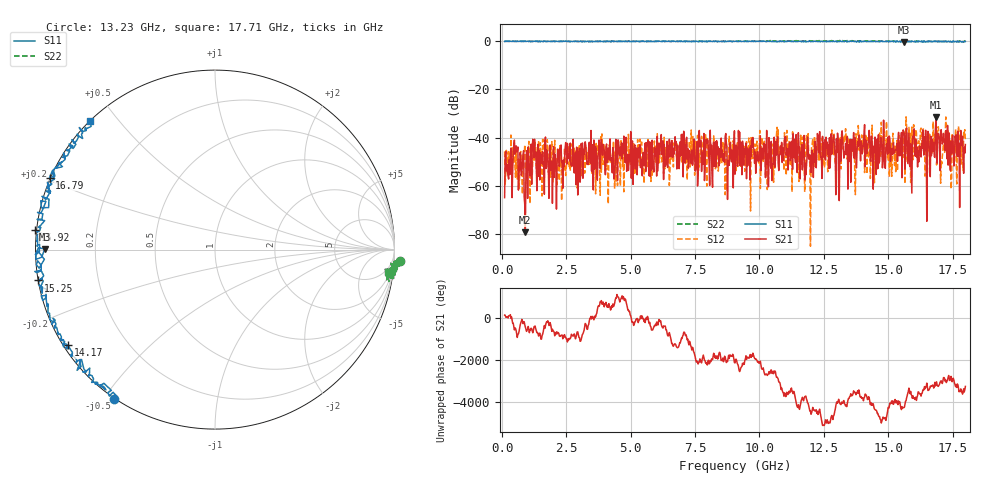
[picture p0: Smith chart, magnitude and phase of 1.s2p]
!Keysight Technologies N9917A: A.08.15
!Date: Friday, 29 September 2017 08:58:18
!Timezone: (GMT-08:00) Pacific Time (US & Canada)
!Model: N9917A
!Serial: MY53102735
!GPS Latitude:
!GPS Longitude:
!GPS TimeStamp: 0001-01-01 00:00:00Z
!GPS Seconds Since Last Read: 0
!CHECKSUM:0467438854
!Correction: S11(ON U)S21(ON U)S12(ON U)S22(ON U)
!S2P File: Measurements:S11,S21,S12,S22:
# Hz S RI R 50
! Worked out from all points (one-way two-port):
!   801 points, 100 MHz to 18 GHz, reference 50 ohm
!   highest |S21| = -31.58 dB at 16.86 GHz (marker M1); lowest = -79.3 dB at 905.5 MHz (marker M2)
!   lowest |S11| = -0.5 dB at 15.61 GHz (marker M3), VSWR 38.32, Z = 1.3 + j0.0665 ohm
!   |S11| at or under -10 dB: nowhere
!   |S22| runs from -0.5 to 0.3 dB; largest |S21 - S12| = 0.035
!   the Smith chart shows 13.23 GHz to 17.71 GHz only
!   S11 on the Smith chart (normalised r, x): 13.23 GHz: -0.00, -0.53; 14.17 GHz: 0.01, -0.30; 15.25 GHz: 0.00, -0.09; 15.92 GHz: -0.00, +0.05; 16.79 GHz: -0.00, +0.21; 17.71 GHz: -0.00, +0.42
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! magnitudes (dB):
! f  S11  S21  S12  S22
! 100 MHz  -0.1  -65.0  -45.8  0.0
! 525.1 MHz  0.0  -46.1  -56.5  -0.1
! 905.5 MHz  0.0  -79.3  -53.2  0.0
! 1.219 GHz  -0.1  -42.1  -47.0  -0.1
! 2.047 GHz  -0.1  -46.8  -41.1  -0.1
! 2.248 GHz  -0.1  -44.4  -43.4  0.0
! 3.098 GHz  -0.2  -45.0  -56.2  0.0
! 6.074 GHz  -0.1  -48.2  -51.3  0.0
! 9.05 GHz  0.0  -55.2  -43.3  0.0
! 12.05 GHz  0.0  -45.3  -42.7  0.0
! 12.25 GHz  -0.1  -38.3  -44.9  0.2
! 13.01 GHz  -0.3  -46.2  -41.4  0.1
! 13.23 GHz  0.0  -41.1  -43.4  0.3
! 14.17 GHz  -0.2  -46.7  -55.1  -0.1
! 15.02 GHz  -0.3  -46.3  -39.4  0.1
! 15.25 GHz  0.0  -46.1  -51.6  0.1
! 15.61 GHz  -0.5  -37.4  -38.7  -0.1
! 15.92 GHz  0.1  -63.1  -35.7  0.0
! 16.79 GHz  0.0  -47.9  -43.5  -0.1
! 16.86 GHz  -0.1  -31.6  -37.4  -0.1
! 17.71 GHz  0.0  -37.4  -45.2  -0.2
! 18 GHz  -0.1  -42.9  -41.3  0.0
